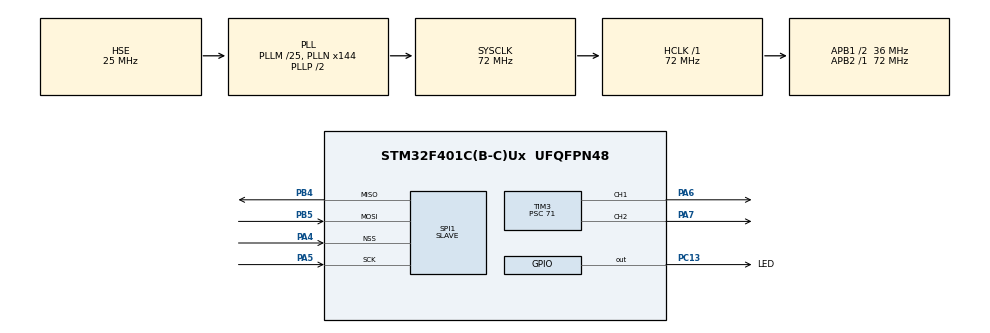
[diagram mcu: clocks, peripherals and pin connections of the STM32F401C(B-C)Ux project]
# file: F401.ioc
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Mcu.Family=STM32F4
Mcu.Name=STM32F401C(B-C)Ux
Mcu.Package=UFQFPN48
NVIC.PriorityGroup=NVIC_PRIORITYGROUP_4
NVIC.SPI1_IRQn=true\:0\:0\:false\:false\:true\:true\:true
NVIC.TIM4_IRQn=true\:0\:0\:false\:false\:true\:false\:true
NVIC.TimeBase=TIM4_IRQn
NVIC.TimeBaseIP=TIM4
PA13.Mode=Serial_Wire
PA13.Signal=SYS_JTMS-SWDIO
PA14.Mode=Serial_Wire
PA14.Signal=SYS_JTCK-SWCLK
PA4.Mode=NSS_Signal_Hard_Input
PA4.Signal=SPI1_NSS
PA5.Mode=Full_Duplex_Slave
PA5.Signal=SPI1_SCK
PA6.Signal=S_TIM3_CH1
PA7.Signal=S_TIM3_CH2
PB4.Mode=Full_Duplex_Slave
PB4.Signal=SPI1_MISO
PB5.Mode=Full_Duplex_Slave
PB5.Signal=SPI1_MOSI
PC13-ANTI_TAMP.GPIO_Label=LED
PC13-ANTI_TAMP.PinState=GPIO_PIN_SET
PC13-ANTI_TAMP.Signal=GPIO_Output
PH0\ -\ OSC_IN.Mode=HSE-External-Oscillator
PH0\ -\ OSC_IN.Signal=RCC_OSC_IN
PH1\ -\ OSC_OUT.Mode=HSE-External-Oscillator
PH1\ -\ OSC_OUT.Signal=RCC_OSC_OUT
ProjectManager.HeapSize=0x200
ProjectManager.StackSize=0x400
ProjectManager.TargetToolchain=MDK-ARM V5.27
RCC.48MHZClocksFreq_Value=36000000
RCC.AHBFreq_Value=72000000
RCC.APB1CLKDivider=RCC_HCLK_DIV2
RCC.APB1Freq_Value=36000000
RCC.APB1TimFreq_Value=72000000
RCC.APB2Freq_Value=72000000
RCC.APB2TimFreq_Value=72000000
RCC.CortexFreq_Value=72000000
RCC.HCLKFreq_Value=72000000
RCC.HSE_VALUE=25000000
RCC.HSI_VALUE=16000000
RCC.LSE_VALUE=32768
RCC.PLLM=25
RCC.PLLN=144
RCC.PLLSourceVirtual=RCC_PLLSOURCE_HSE
RCC.SYSCLKFreq_VALUE=72000000
RCC.SYSCLKSource=RCC_SYSCLKSOURCE_PLLCLK
RCC.VCOOutputFreq_Value=144000000
SH.S_TIM3_CH1.0=TIM3_CH1,PWM Generation1 CH1
SH.S_TIM3_CH2.0=TIM3_CH2,PWM Generation2 CH2
SPI1.Direction=SPI_DIRECTION_2LINES
SPI1.Mode=SPI_MODE_SLAVE
SPI1.VirtualNSS=VM_NSSHARD
SPI1.VirtualType=VM_SLAVE
TIM3.Channel-PWM\ Generation1\ CH1=TIM_CHANNEL_1
TIM3.Channel-PWM\ Generation2\ CH2=TIM_CHANNEL_2
TIM3.Period=20000
TIM3.Prescaler=71
TIM3.Pulse-PWM\ Generation1\ CH1=1500
VP_SYS_VS_tim4.Mode=TIM4
VP_TIM3_VS_ClockSourceINT.Mode=Internal
board=custom

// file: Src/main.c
/* USER CODE BEGIN Header */
/**
  ******************************************************************************
  * @file           : main.c
  * @brief          : Main program body
  ******************************************************************************
  * @attention
  *
  * <h2><center>&copy; Copyright (c) 2021 STMicroelectronics.
  * All rights reserved.</center></h2>
  *
  * This software component is licensed by ST under BSD 3-Clause license,
  * the "License"; You may not use this file except in compliance with the
  * License. You may obtain a copy of the License at:
  *                        opensource.org/licenses/BSD-3-Clause
  *
  ******************************************************************************
  */
/* USER CODE END Header */

#include "main.h"

SPI_HandleTypeDef hspi1;

TIM_HandleTypeDef htim3;

/* USER CODE BEGIN PV */
uint8_t read_data[5];
uint8_t tmpCounterRx1 = 0;
uint8_t rxCpltFlag = 0;
/* USER CODE END PV */

void SystemClock_Config(void);
static void MX_GPIO_Init(void);
static void MX_TIM3_Init(void);
static void MX_SPI1_Init(void);

int main(void)
{

  /* MCU Configuration--------------------------------------------------------*/

  /* Reset of all peripherals, Initializes the Flash interface and the Systick. */
  HAL_Init();

  /* Configure the system clock */
  SystemClock_Config();

  /* Initialize all configured peripherals */
  MX_GPIO_Init();
  MX_TIM3_Init();
  MX_SPI1_Init();

  /* Infinite loop */
  /* USER CODE BEGIN WHILE */
	uint8_t numServo;
	int pwm = 2400;
	TIM3->CCR1 = pwm;
	TIM3->CCR2 = pwm;
//	HAL_TIM_Base_Start(&htim3);
	HAL_TIM_PWM_Start(&htim3, TIM_CHANNEL_1);
	HAL_TIM_PWM_Start(&htim3, TIM_CHANNEL_2);
//	HAL_SPI_Receive_IT(&hspi1, read_data, 5);
  while (1)
  {
		if(rxCpltFlag == 1) {

			rxCpltFlag = 0;
			numServo = read_data[0];
			pwm = read_data[1] << 24;
			pwm |= (read_data[2] << 16);
			pwm |= (read_data[3] << 8);
			pwm |= (read_data[4]);
			if((numServo == 1) && (TIM3->CCR1 != pwm)) TIM3->CCR1 = constrain(pwm, 544, 2400);
			if((numServo == 2) && (TIM3->CCR2 != pwm)) TIM3->CCR2 = constrain(pwm, 544, 2400);
			GPIOC->BSRR |= GPIO_BSRR_BS13;
//			HAL_GPIO_WritePin(GPIOC, 13, GPIO_PIN_SET);
			HAL_Delay(100);
//			HAL_GPIO_WritePin(GPIOC, 13, GPIO_PIN_RESET);
			GPIOC->BSRR |= GPIO_BSRR_BR13;
		}
		HAL_Delay(1);
    /* USER CODE END WHILE */

  }
}

void SystemClock_Config(void)
{
  RCC_OscInitTypeDef RCC_OscInitStruct = {0};
  RCC_ClkInitTypeDef RCC_ClkInitStruct = {0};

  /** Configure the main internal regulator output voltage
  */
  __HAL_RCC_PWR_CLK_ENABLE();
  __HAL_PWR_VOLTAGESCALING_CONFIG(PWR_REGULATOR_VOLTAGE_SCALE2);
  /** Initializes the CPU, AHB and APB busses clocks
  */
  RCC_OscInitStruct.OscillatorType = RCC_OSCILLATORTYPE_HSE;
  RCC_OscInitStruct.HSEState = RCC_HSE_ON;
  RCC_OscInitStruct.PLL.PLLState = RCC_PLL_ON;
  RCC_OscInitStruct.PLL.PLLSource = RCC_PLLSOURCE_HSE;
  RCC_OscInitStruct.PLL.PLLM = 25;
  RCC_OscInitStruct.PLL.PLLN = 144;
  RCC_OscInitStruct.PLL.PLLP = RCC_PLLP_DIV2;
  RCC_OscInitStruct.PLL.PLLQ = 4;
  if (HAL_RCC_OscConfig(&RCC_OscInitStruct) != HAL_OK)
  {
    Error_Handler();
  }
  /** Initializes the CPU, AHB and APB busses clocks
  */
  RCC_ClkInitStruct.ClockType = RCC_CLOCKTYPE_HCLK|RCC_CLOCKTYPE_SYSCLK
                              |RCC_CLOCKTYPE_PCLK1|RCC_CLOCKTYPE_PCLK2;
  RCC_ClkInitStruct.SYSCLKSource = RCC_SYSCLKSOURCE_PLLCLK;
  RCC_ClkInitStruct.AHBCLKDivider = RCC_SYSCLK_DIV1;
  RCC_ClkInitStruct.APB1CLKDivider = RCC_HCLK_DIV2;
  RCC_ClkInitStruct.APB2CLKDivider = RCC_HCLK_DIV1;

  if (HAL_RCC_ClockConfig(&RCC_ClkInitStruct, FLASH_LATENCY_2) != HAL_OK)
  {
    Error_Handler();
  }
}

static void MX_SPI1_Init(void)
{

  /* SPI1 parameter configuration*/
  hspi1.Instance = SPI1;
  hspi1.Init.Mode = SPI_MODE_SLAVE;
  hspi1.Init.Direction = SPI_DIRECTION_2LINES;
  hspi1.Init.DataSize = SPI_DATASIZE_8BIT;
  hspi1.Init.CLKPolarity = SPI_POLARITY_LOW;
  hspi1.Init.CLKPhase = SPI_PHASE_1EDGE;
  hspi1.Init.NSS = SPI_NSS_HARD_INPUT;
  hspi1.Init.FirstBit = SPI_FIRSTBIT_MSB;
  hspi1.Init.TIMode = SPI_TIMODE_DISABLE;
  hspi1.Init.CRCCalculation = SPI_CRCCALCULATION_DISABLE;
  hspi1.Init.CRCPolynomial = 10;
  if (HAL_SPI_Init(&hspi1) != HAL_OK)
  {
    Error_Handler();
  }

}

static void MX_TIM3_Init(void)
{

  TIM_ClockConfigTypeDef sClockSourceConfig = {0};
  TIM_MasterConfigTypeDef sMasterConfig = {0};
  TIM_OC_InitTypeDef sConfigOC = {0};

  htim3.Instance = TIM3;
  htim3.Init.Prescaler = 71;
  htim3.Init.CounterMode = TIM_COUNTERMODE_UP;
  htim3.Init.Period = 20000;
  htim3.Init.ClockDivision = TIM_CLOCKDIVISION_DIV1;
  htim3.Init.AutoReloadPreload = TIM_AUTORELOAD_PRELOAD_DISABLE;
  if (HAL_TIM_Base_Init(&htim3) != HAL_OK)
  {
    Error_Handler();
  }
  sClockSourceConfig.ClockSource = TIM_CLOCKSOURCE_INTERNAL;
  if (HAL_TIM_ConfigClockSource(&htim3, &sClockSourceConfig) != HAL_OK)
  {
    Error_Handler();
  }
  if (HAL_TIM_PWM_Init(&htim3) != HAL_OK)
  {
    Error_Handler();
  }
  sMasterConfig.MasterOutputTrigger = TIM_TRGO_RESET;
  sMasterConfig.MasterSlaveMode = TIM_MASTERSLAVEMODE_DISABLE;
  if (HAL_TIMEx_MasterConfigSynchronization(&htim3, &sMasterConfig) != HAL_OK)
  {
    Error_Handler();
  }
  sConfigOC.OCMode = TIM_OCMODE_PWM1;
  sConfigOC.Pulse = 1500;
  sConfigOC.OCPolarity = TIM_OCPOLARITY_HIGH;
  sConfigOC.OCFastMode = TIM_OCFAST_DISABLE;
  if (HAL_TIM_PWM_ConfigChannel(&htim3, &sConfigOC, TIM_CHANNEL_1) != HAL_OK)
  {
    Error_Handler();
  }
  sConfigOC.Pulse = 0;
  if (HAL_TIM_PWM_ConfigChannel(&htim3, &sConfigOC, TIM_CHANNEL_2) != HAL_OK)
  {
    Error_Handler();
  }
  HAL_TIM_MspPostInit(&htim3);

}

static void MX_GPIO_Init(void)
{
  GPIO_InitTypeDef GPIO_InitStruct = {0};

  /* GPIO Ports Clock Enable */
  __HAL_RCC_GPIOC_CLK_ENABLE();
  __HAL_RCC_GPIOH_CLK_ENABLE();
  __HAL_RCC_GPIOA_CLK_ENABLE();
  __HAL_RCC_GPIOB_CLK_ENABLE();

  /*Configure GPIO pin Output Level */
  HAL_GPIO_WritePin(LED_GPIO_Port, LED_Pin, GPIO_PIN_SET);

  /*Configure GPIO pin : LED_Pin */
  GPIO_InitStruct.Pin = LED_Pin;
  GPIO_InitStruct.Mode = GPIO_MODE_OUTPUT_PP;
  GPIO_InitStruct.Pull = GPIO_NOPULL;
  GPIO_InitStruct.Speed = GPIO_SPEED_FREQ_LOW;
  HAL_GPIO_Init(LED_GPIO_Port, &GPIO_InitStruct);

}

/* USER CODE BEGIN 4 */
int constrain(int x, int a, int b) {
	if(x > b) x = b;
	if(x < a) x = a;
	return x;
}

/* USER CODE END 4 */

 /**
  * @brief  Period elapsed callback in non blocking mode
  * @note   This function is called  when TIM4 interrupt took place, inside
  * HAL_TIM_IRQHandler(). It makes a direct call to HAL_IncTick() to increment
  * a global variable "uwTick" used as application time base.
  * @param  htim : TIM handle
  * @retval None
  */
void HAL_TIM_PeriodElapsedCallback(TIM_HandleTypeDef *htim)
{
  if (htim->Instance == TIM4) {
    HAL_IncTick();
  }
}

void Error_Handler(void)
{
}

/************************ (C) COPYRIGHT STMicroelectronics *****END OF FILE****/
